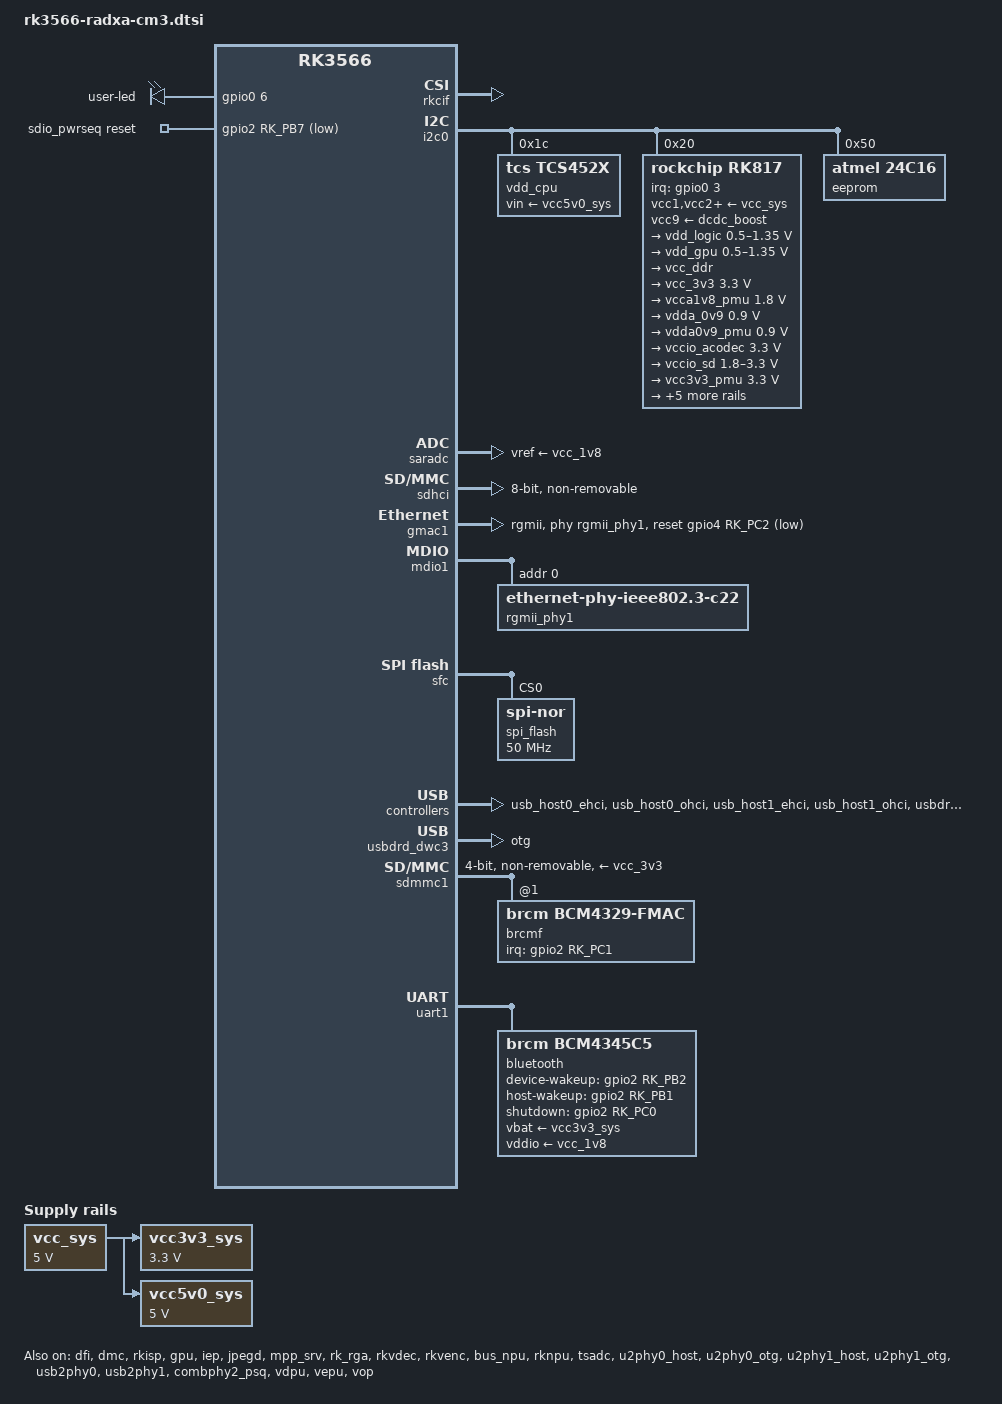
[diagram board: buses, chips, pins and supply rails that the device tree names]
// SPDX-License-Identifier: (GPL-2.0+ OR MIT)
/*
 * Copyright (c) 2020 Rockchip Electronics Co., Ltd.
 * Copyright (c) 2022 Radxa Limited.
 *
 */

/dts-v1/;

#include <dt-bindings/gpio/gpio.h>
#include <dt-bindings/pwm/pwm.h>
#include <dt-bindings/pinctrl/rockchip.h>
#include <dt-bindings/input/rk-input.h>
#include <dt-bindings/display/drm_mipi_dsi.h>
#include <dt-bindings/sensor-dev.h>
#include "rk3566.dtsi"
#include "rk3568-linux.dtsi"

/ {
	compatible = "radxa,cm3", "rockchip,rk3566";

	/delete-node/ chosen;

	aliases {
		mmc0 = &sdmmc0;
		mmc1 = &sdhci;
		mmc2 = &sdmmc1;
		mmc3 = &sdmmc2;
	};

	vcc_sys: vcc-sys {
		compatible = "regulator-fixed";
		regulator-name = "vcc_sys";
		regulator-always-on;
		regulator-boot-on;
		regulator-min-microvolt = <5000000>;
		regulator-max-microvolt = <5000000>;
	};

	vcc3v3_sys: vcc3v3-sys {
		compatible = "regulator-fixed";
		regulator-name = "vcc3v3_sys";
		regulator-always-on;
		regulator-boot-on;
		regulator-min-microvolt = <3300000>;
		regulator-max-microvolt = <3300000>;
		vin-supply = <&vcc_sys>;
	};

	vcc5v0_sys: vcc5v0-sys {
		compatible = "regulator-fixed";
		regulator-name = "vcc5v0_sys";
		regulator-always-on;
		regulator-boot-on;
		regulator-min-microvolt = <5000000>;
		regulator-max-microvolt = <5000000>;
		vin-supply = <&vcc_sys>;
	};

	gpio_leds: gpio-leds {
		compatible = "gpio-leds";
		status = "okay";

		user-led {
			gpios = <&gpio0 6 GPIO_ACTIVE_HIGH>;
			linux,default-trigger = "timer";
			default-state = "on";
			pinctrl-0 = <&user_led_set>;
		};
	};

	sdio_pwrseq: sdio-pwrseq {
		compatible = "mmc-pwrseq-simple";
		clocks = <&rk817 1>;
		clock-names = "ext_clock";
		pinctrl-names = "default";
		pinctrl-0 = <&wifi_enable_h>;
		/*
		 * On the module itself this is one of these (depending
		 * on the actual card populated):
		 * - SDIO_RESET_L_WL_REG_ON
		 * - PDN (power down when low)
		 */
		reset-gpios = <&gpio2 RK_PB7 GPIO_ACTIVE_LOW>;
	};
};

&cpu0 {
	cpu-supply = <&vdd_cpu>;
};

&dfi {
	status = "okay";
};

&dmc {
	center-supply = <&vdd_logic>;
	status = "okay";
};

&rkcif {
	status = "okay";
};

&rkcif_mmu {
	status = "okay";
};

&rkisp {
	status = "okay";
};

&rkisp_mmu {
	status = "okay";
};

&gpu {
	mali-supply = <&vdd_gpu>;
	status = "okay";
};

&pmu_io_domains {
	status = "okay";
	pmuio2-supply = <&vcc_3v3>;
	vccio1-supply = <&vccio_acodec>;
	vccio2-supply = <&vcc_1v8>;
	vccio3-supply = <&vccio_sd>;
	vccio4-supply = <&vcc_1v8>;
	vccio5-supply = <&vcc_3v3>;
	vccio6-supply = <&vcc_3v3>;
	vccio7-supply = <&vcc_3v3>;
};

&i2c0 {
	status = "okay";

	vdd_cpu: tcs4525@1c {
		compatible = "tcs,tcs452x";
		reg = <0x1c>;
		vin-supply = <&vcc5v0_sys>;
		regulator-compatible = "fan53555-reg";
		regulator-name = "vdd_cpu";
		regulator-min-microvolt = <712500>;
		regulator-max-microvolt = <1390000>;
		regulator-init-microvolt = <900000>;
		regulator-ramp-delay = <2300>;
		fcs,suspend-voltage-selector = <1>;
		regulator-boot-on;
		regulator-always-on;
		regulator-state-mem {
			regulator-off-in-suspend;
		};
	};

	rk817: pmic@20 {
		compatible = "rockchip,rk817";
		reg = <0x20>;
		interrupt-parent = <&gpio0>;
		interrupts = <3 IRQ_TYPE_LEVEL_LOW>;

		pinctrl-names = "default", "pmic-sleep",
				"pmic-power-off", "pmic-reset";
		pinctrl-0 = <&pmic_int>;
		pinctrl-1 = <&soc_slppin_slp>, <&rk817_slppin_slp>;
		pinctrl-2 = <&soc_slppin_gpio>, <&rk817_slppin_pwrdn>;
		pinctrl-3 = <&soc_slppin_gpio>, <&rk817_slppin_null>;
		rockchip,system-power-controller;
		wakeup-source;
		#clock-cells = <1>;
		clock-output-names = "rk808-clkout1", "rk808-clkout2";
		//fb-inner-reg-idxs = <2>;
		/* 1: rst regs (default in codes), 0: rst the pmic */
		pmic-reset-func = <0>;
		/* not save the PMIC_POWER_EN register in uboot */
		not-save-power-en = <1>;

		vcc1-supply = <&vcc_sys>;
		vcc2-supply = <&vcc_sys>;
		vcc3-supply = <&vcc_sys>;
		vcc4-supply = <&vcc_sys>;
		vcc5-supply = <&vcc_sys>;
		vcc6-supply = <&vcc_sys>;
		vcc7-supply = <&vcc_sys>;
		vcc8-supply = <&vcc_sys>;
		vcc9-supply = <&dcdc_boost>;

		pwrkey {
			status = "okay";
		};

		pinctrl_rk8xx: pinctrl_rk8xx {
			gpio-controller;
			#gpio-cells = <2>;

			rk817_slppin_null: rk817_slppin_null {
				pins = "gpio_slp";
				function = "pin_fun0";
			};

			rk817_slppin_slp: rk817_slppin_slp {
				pins = "gpio_slp";
				function = "pin_fun1";
			};

			rk817_slppin_pwrdn: rk817_slppin_pwrdn {
				pins = "gpio_slp";
				function = "pin_fun2";
			};

			rk817_slppin_rst: rk817_slppin_rst {
				pins = "gpio_slp";
				function = "pin_fun3";
			};
		};

		regulators {
			vdd_logic: DCDC_REG1 {
				regulator-always-on;
				regulator-boot-on;
				regulator-min-microvolt = <500000>;
				regulator-max-microvolt = <1350000>;
				regulator-init-microvolt = <900000>;
				regulator-ramp-delay = <6001>;
				regulator-initial-mode = <0x2>;
				regulator-name = "vdd_logic";
				regulator-state-mem {
					regulator-off-in-suspend;
					regulator-suspend-microvolt = <900000>;
				};
			};

			vdd_gpu: DCDC_REG2 {
				regulator-always-on;
				regulator-boot-on;
				regulator-min-microvolt = <500000>;
				regulator-max-microvolt = <1350000>;
				regulator-init-microvolt = <900000>;
				regulator-ramp-delay = <6001>;
				regulator-initial-mode = <0x2>;
				regulator-name = "vdd_gpu";
				regulator-state-mem {
					regulator-off-in-suspend;
				};
			};

			vcc_ddr: DCDC_REG3 {
				regulator-always-on;
				regulator-boot-on;
				regulator-initial-mode = <0x2>;
				regulator-name = "vcc_ddr";
				regulator-state-mem {
					regulator-on-in-suspend;
				};
			};

			vcc_3v3: DCDC_REG4 {
				regulator-always-on;
				regulator-boot-on;
				regulator-min-microvolt = <3300000>;
				regulator-max-microvolt = <3300000>;
				regulator-initial-mode = <0x2>;
				regulator-name = "vcc_3v3";
				regulator-state-mem {
					regulator-on-in-suspend;
					regulator-suspend-microvolt = <3300000>;
				};
			};

			vcca1v8_pmu: LDO_REG1 {
				regulator-always-on;
				regulator-boot-on;
				regulator-min-microvolt = <1800000>;
				regulator-max-microvolt = <1800000>;
				regulator-name = "vcca1v8_pmu";
				regulator-state-mem {
					regulator-on-in-suspend;
					regulator-suspend-microvolt = <1800000>;
				};
			};

			vdda_0v9: LDO_REG2 {
				regulator-always-on;
				regulator-boot-on;
				regulator-min-microvolt = <900000>;
				regulator-max-microvolt = <900000>;
				regulator-name = "vdda_0v9";
				regulator-state-mem {
					regulator-off-in-suspend;
				};
			};

			vdda0v9_pmu: LDO_REG3 {
				regulator-always-on;
				regulator-boot-on;
				regulator-min-microvolt = <900000>;
				regulator-max-microvolt = <900000>;
				regulator-name = "vdda0v9_pmu";
				regulator-state-mem {
					regulator-on-in-suspend;
					regulator-suspend-microvolt = <900000>;
				};
			};

			vccio_acodec: LDO_REG4 {
				regulator-always-on;
				regulator-boot-on;
				regulator-min-microvolt = <3300000>;
				regulator-max-microvolt = <3300000>;
				regulator-name = "vccio_acodec";
				regulator-state-mem {
					regulator-off-in-suspend;
				};
			};

			vccio_sd: LDO_REG5 {
				regulator-always-on;
				regulator-boot-on;
				regulator-min-microvolt = <1800000>;
				regulator-max-microvolt = <3300000>;
				regulator-name = "vccio_sd";
				regulator-state-mem {
					regulator-off-in-suspend;
				};
			};

			vcc3v3_pmu: LDO_REG6 {
				regulator-always-on;
				regulator-boot-on;
				regulator-min-microvolt = <3300000>;
				regulator-max-microvolt = <3300000>;
				regulator-name = "vcc3v3_pmu";
				regulator-state-mem {
					regulator-on-in-suspend;
					regulator-suspend-microvolt = <3000000>;
				};
			};

			vcc_1v8: LDO_REG7 {
				regulator-always-on;
				regulator-boot-on;
				regulator-min-microvolt = <1800000>;
				regulator-max-microvolt = <1800000>;
				regulator-name = "vcc_1v8";
				regulator-state-mem {
					regulator-off-in-suspend;
				};
			};

			vcc1v8_dvp: LDO_REG8 {
				regulator-always-on;
				regulator-boot-on;
				regulator-min-microvolt = <1800000>;
				regulator-max-microvolt = <1800000>;
				regulator-name = "vcc1v8_dvp";
				regulator-state-mem {
					regulator-off-in-suspend;
				};
			};

			vcc2v8_dvp: LDO_REG9 {
				regulator-always-on;
				regulator-boot-on;
				regulator-min-microvolt = <2800000>;
				regulator-max-microvolt = <2800000>;
				regulator-name = "vcc2v8_dvp";
				regulator-state-mem {
					regulator-off-in-suspend;
				};
			};

			dcdc_boost: BOOST {
				regulator-always-on;
				regulator-boot-on;
				regulator-min-microvolt = <5000000>;
				regulator-max-microvolt = <5000000>;
				regulator-name = "boost";
				regulator-state-mem {
					regulator-off-in-suspend;
				};
			};

			otg_switch: OTG_SWITCH {
				regulator-name = "otg_switch";
				regulator-state-mem {
					regulator-off-in-suspend;
				};
			};
		};

		rk817_codec: codec {
			#sound-dai-cells = <0>;
			compatible = "rockchip,rk817-codec";
			clocks = <&cru I2S1_MCLKOUT>;
			clock-names = "mclk";
			assigned-clocks = <&cru I2S1_MCLKOUT>, <&cru I2S1_MCLK_TX_IOE>;
			assigned-clock-rates = <12288000>;
			assigned-clock-parents = <&cru I2S1_MCLKOUT_TX>, <&cru I2S1_MCLKOUT_TX>;
			pinctrl-names = "default";
			pinctrl-0 = <&i2s1m0_mclk>;
			hp-volume = <20>;
			spk-volume = <3>;
			mic-in-differential;
			status = "okay";
		};
	};

	eeprom:	at24c16@50 {
		status = "okay";
		compatible = "atmel,24c16";
		reg = <0x50>;
		pagesize = <16>;
	};
};

&iep {
	status = "okay";
};

&iep_mmu {
	status = "okay";
};

&jpegd {
	status = "okay";
};

&jpegd_mmu {
	status = "okay";
};

&mpp_srv {
	status = "okay";
};

&rk_rga {
	status = "okay";
};

&rkvdec {
	status = "okay";
};

&rkvdec_mmu {
	status = "okay";
};

&rkvenc {
	venc-supply = <&vdd_logic>;
	status = "okay";
};

&rkvenc_mmu {
	status = "okay";
};

&bus_npu {
	bus-supply = <&vdd_logic>;
	pvtm-supply = <&vdd_cpu>;
	status = "okay";
};

&rknpu {
	memory-region = <&rknpu_reserved>;
	rknpu-supply = <&vdd_gpu>;
	status = "okay";
};

&rknpu_mmu {
	status = "okay";
};

&reserved_memory {

	rknpu_reserved: rknpu {
		compatible = "shared-dma-pool";
		inactive;
		reusable;
		size = <0x0 0x20000000>;
		alignment = <0x0 0x1000>;
	};
};

&saradc {
	status = "okay";
	vref-supply = <&vcc_1v8>;
};

&sdhci {
	bus-width = <8>;
	supports-emmc;
	non-removable;
	max-frequency = <200000000>;
	status = "okay";
};

&gmac1 {
	phy-mode = "rgmii";
	clock_in_out = "input";

	snps,reset-gpio = <&gpio4 RK_PC2 GPIO_ACTIVE_LOW>;
	snps,reset-active-low;
	/* Reset time is 20ms, 100ms for rtl8211f */
	snps,reset-delays-us = <0 20000 100000>;

	assigned-clocks = <&cru SCLK_GMAC1_RX_TX>, <&cru SCLK_GMAC1>;
	assigned-clock-parents = <&cru SCLK_GMAC1_RGMII_SPEED>, <&gmac1_clkin>;
	assigned-clock-rates = <0>, <125000000>;

	pinctrl-names = "default";
	pinctrl-0 = <&gmac1m0_miim
			 &gmac1m0_tx_bus2
			 &gmac1m0_rx_bus2
			 &gmac1m0_rgmii_clk
			 &gmac1m0_rgmii_bus
			 &gmac1m0_clkinout>;

	tx_delay = <0x46>;
	rx_delay = <0x2e>;

	phy-handle = <&rgmii_phy1>;
	status = "okay";
};

&mdio1 {
	rgmii_phy1: phy@0 {
		compatible="ethernet-phy-ieee802.3-c22";
		reg=<0x0>;
	};
};

&sfc {
	status = "okay";
	max-freq = <50000000>;
	#address-cells = <1>;
	#size-cells = <0>;
	pinctrl-names = "default";
	pinctrl-0 = <&fspi_pins>;

	spi_flash: spi-flash@0 {
		#address-cells = <1>;
		#size-cells = <0>;
		compatible = "jedec,spi-nor";
		reg = <0x0>;
		spi-max-frequency = <50000000>;
		spi-tx-bus-width = <1>;
		spi-rx-bus-width = <4>;
		status = "okay";
	};
};

&rockchip_suspend {
	status = "okay";
	rockchip,sleep-debug-en = <1>;
	rockchip,sleep-mode-config = <
		(0
		| RKPM_SLP_CENTER_OFF
		| RKPM_SLP_HW_PLLS_OFF
		| RKPM_SLP_PMUALIVE_32K
		| RKPM_SLP_32K_PVTM
		)
	>;
	rockchip,wakeup-config = <
		(0
		| RKPM_GPIO_WKUP_EN
		| RKPM_USB_WKUP_EN
		)
	>;
};

&tsadc {
	status = "okay";
};

&u2phy0_host {
	status = "okay";
};

&u2phy0_otg {
	status = "okay";
};

&u2phy1_host {
	status = "okay";
};

&u2phy1_otg {
	status = "okay";
};

&usb2phy0 {
	status = "okay";
};

&usb2phy1 {
	status = "okay";
};

&usb_host0_ehci {
	status = "okay";
};

&usb_host0_ohci {
	status = "okay";
};

&usb_host1_ehci {
	status = "okay";
};

&usb_host1_ohci {
	status = "okay";
};

&usbdrd_dwc3 {
	dr_mode = "otg";
	extcon = <&usb2phy0>;
	status = "okay";
};

&usbdrd30 {
	status = "okay";
};

&usbhost_dwc3 {
	status = "disabled";
};

&usbhost30 {
	status = "disabled";
};

&combphy1_usq {
	status = "disabled";
};

&combphy2_psq {
	status = "okay";
};

&pcie2x1 {
	status = "disabled";
};

&vdpu {
	status = "okay";
};

&vdpu_mmu {
	status = "okay";
};

&vepu {
	status = "okay";
};

&vepu_mmu {
	status = "okay";
};

&vop {
	status = "okay";
	assigned-clocks = <&cru DCLK_VOP0>, <&cru DCLK_VOP1>;
	assigned-clock-parents = <&pmucru PLL_HPLL>, <&cru PLL_VPLL>;
};

&vop_mmu {
	status = "okay";
};

&sdmmc1 {
	max-frequency = <100000000>;
	vmmc-supply = <&vcc_3v3>;
	vqmmc-supply = <&vcc_1v8>;
	supports-sdio;
	bus-width = <4>;
	disable-wp;
	cap-sd-highspeed;
	cap-sdio-irq;
	keep-power-in-suspend;
	non-removable;
	rockchip,default-sample-phase = <90>;
	mmc-pwrseq = <&sdio_pwrseq>;
	pinctrl-names = "default";
	pinctrl-0 = <&sdmmc1_bus4 &sdmmc1_cmd &sdmmc1_clk>;
	sd-uhs-sdr104;
	status = "okay";
	#address-cells = <1>;
	#size-cells = <0>;

	brcmf: wifi@0 {
		compatible = "brcm,bcm4329-fmac";
		reg = <1>;
		interrupt-parent = <&gpio2>;
		interrupts = <RK_PC1 IRQ_TYPE_LEVEL_HIGH>;
		interrupt-names = "host-wake";
		pinctrl-names = "default";
		pinctrl-0 = <&wifi_host_wake_l>;
	};
};

&uart1 {
	status = "okay";
	pinctrl-names = "default";
	pinctrl-0 = <&uart1m0_xfer &uart1m0_ctsn &uart1m0_rtsn>;

	bluetooth {
		compatible = "brcm,bcm4345c5";
		clocks = <&rk817 1>;
		clock-names = "lpo";
		device-wakeup-gpios = <&gpio2 RK_PB2 GPIO_ACTIVE_HIGH>;
		host-wakeup-gpios = <&gpio2 RK_PB1 GPIO_ACTIVE_HIGH>;
		shutdown-gpios = <&gpio2 RK_PC0 GPIO_ACTIVE_HIGH>;
		max-speed = <1500000>;
		pinctrl-names = "default";
		pinctrl-0 = <&bt_host_wake_l &bt_wake_l &bt_enable_h>;
		vbat-supply = <&vcc3v3_sys>;
		vddio-supply = <&vcc_1v8>;
	};
};

&pinctrl {
	pmic {
		pmic_int: pmic_int {
			rockchip,pins =
				<0 RK_PA3 RK_FUNC_GPIO &pcfg_pull_up>;
		};

		soc_slppin_gpio: soc_slppin_gpio {
			rockchip,pins =
				<0 RK_PA2 RK_FUNC_GPIO &pcfg_output_low_pull_down>;
		};

		soc_slppin_slp: soc_slppin_slp {
			rockchip,pins =
				<0 RK_PA2 1 &pcfg_pull_up>;
		};

		soc_slppin_rst: soc_slppin_rst {
			rockchip,pins =
				<0 RK_PA2 2 &pcfg_pull_none>;
		};
	};

	leds {
		user_led_set: user-led {
			rockchip,pins = <0 RK_PA6 RK_FUNC_GPIO &pcfg_pull_none>;
		};
	};

	wifi {
		wifi_enable_h: wifi-enable-h {
			rockchip,pins = <2 RK_PB7 RK_FUNC_GPIO &pcfg_pull_none>;
		};

		wifi_host_wake_l: wifi-host-wake-irq {
			rockchip,pins = <2 RK_PC1 RK_FUNC_GPIO &pcfg_pull_none>;
		};
	};

	bt {
		bt_enable_h: bt-enable-h {
			rockchip,pins = <2 RK_PC0 RK_FUNC_GPIO &pcfg_pull_none>;
		};

		bt_host_wake_l: bt-host-wake-l {
			rockchip,pins = <2 RK_PB1 RK_FUNC_GPIO &pcfg_pull_none>;
		};

		bt_wake_l: bt-wake-l {
			rockchip,pins = <2 RK_PB2 RK_FUNC_GPIO &pcfg_pull_none>;
		};
	};
};
